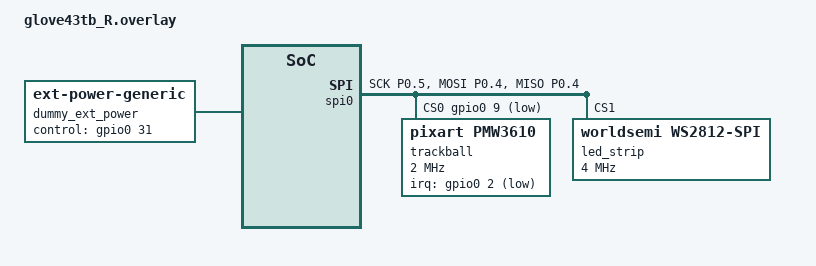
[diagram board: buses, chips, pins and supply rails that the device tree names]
#include "glove43tb.dtsi"
#include <zephyr/dt-bindings/input/input-event-codes.h>
#include <dt-bindings/zmk/input_transform.h>
#include <input/processors.dtsi>

&default_transform {
col-offset = <6>;
};

&kscan0 {
    col-gpios
        = <&xiao_d 10 GPIO_ACTIVE_HIGH>
        , <&xiao_d 9 GPIO_ACTIVE_HIGH>
        , <&xiao_d 8 GPIO_ACTIVE_HIGH>
        , <&xiao_d 7 GPIO_ACTIVE_HIGH>
        , <&gpio0 10 GPIO_ACTIVE_HIGH>
        ;
};

/ {
    /* トラックボールの挙動設定 */
    trackball_listener {
        status = "okay";
        compatible = "zmk,input-listener";
        device = <&trackball>;
        input-processors = <&zip_temp_layer 4 700>;

        scroller {
            layers = <5>;
            input-processors = <
                &zip_xy_to_scroll_mapper
                &zip_scroll_transform INPUT_TRANSFORM_Y_INVERT
                &zip_scroll_scaler 1 16
            >;
        };
    };

    /* LED用の選択定義 */
    chosen {
        zmk,underglow = &led_strip;
    };

    /* メンテナンス・エラー回避用の仮想電源スイッチ（末尾でもOKですがここにまとめました） */
    dummy_ext_power: ext-power {
        compatible = "zmk,ext-power-generic";
        control-gpios = <&gpio0 31 GPIO_ACTIVE_HIGH>;
    };
};

&pinctrl {
    spi0_default: spi0_default {
        group1 {
            psels = <NRF_PSEL(SPIM_SCK, 0, 5)>,
                <NRF_PSEL(SPIM_MOSI, 0, 4)>,
                <NRF_PSEL(SPIM_MISO, 0, 4)>;
        };
    };

    spi0_sleep: spi0_sleep {
        group1 {
            psels = <NRF_PSEL(SPIM_SCK, 0, 5)>,
                <NRF_PSEL(SPIM_MOSI, 0, 4)>,
                <NRF_PSEL(SPIM_MISO, 0, 4)>;
            low-power-enable;
        };
    };
};

&xiao_serial { status = "disabled"; };

&spi0 {
    status = "okay";
    compatible = "nordic,nrf-spim";
    pinctrl-0 = <&spi0_default>;
    pinctrl-1 = <&spi0_sleep>;
    pinctrl-names = "default", "sleep";
    cs-gpios = <&gpio0 9 GPIO_ACTIVE_LOW>;

    /* トラックボール本体（アドレス0） */
    trackball: trackball@0 {
        status = "okay";
        compatible = "pixart,pmw3610";
        reg = <0>;
        spi-max-frequency = <2000000>;
        irq-gpios = <&gpio0 2 (GPIO_ACTIVE_LOW | GPIO_PULL_UP)>;
        evt-type = <INPUT_EV_REL>;
        x-input-code = <INPUT_REL_Y>;
        y-input-code = <INPUT_REL_X>;
        invert-x;
        invert-y;
        cpi = <400>;
    };

    /* LEDテープ（アドレス1） */
    led_strip: ws2812@1 {
        compatible = "worldsemi,ws2812-spi";
        reg = <1>;
        spi-max-frequency = <4000000>;
        chain-length = <1>;
        spi-one-frame = <0x70>;
        spi-zero-frame = <0x40>;
        color-mapping = <0 1 2>;
    };
};
